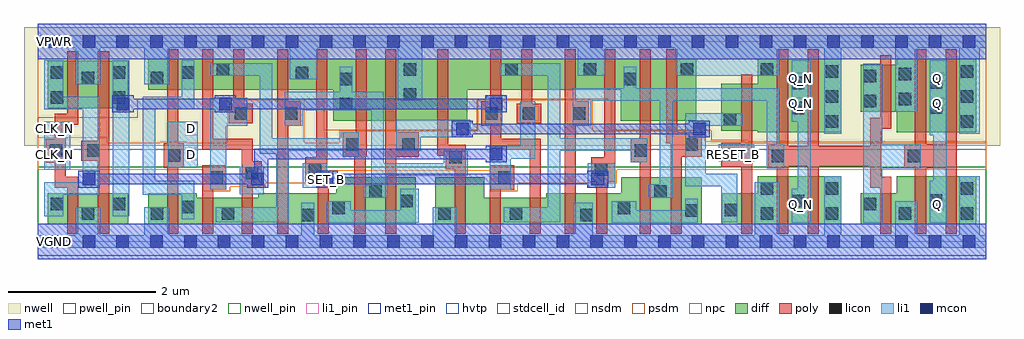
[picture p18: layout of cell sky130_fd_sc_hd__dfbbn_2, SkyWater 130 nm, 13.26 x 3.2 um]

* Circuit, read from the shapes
.subckt sky130_fd_sc_hd__dfbbn_2 CLK_N D Q Q_N RESET_B SET_B VGND VNB VPB VPWR
XM1 VGND CLK_N n1 VNB sky130_fd_pr__nfet_01v8 w=0.42 l=0.15
XM2 n2 n1 VGND VNB sky130_fd_pr__nfet_01v8 w=0.42 l=0.15
XM3 n3 D VGND VNB sky130_fd_pr__nfet_01v8 w=0.42 l=0.15
XM4 n4 n2 n3 VNB sky130_fd_pr__nfet_01v8 w=0.36 l=0.15
XM5 n5 n1 n4 VNB sky130_fd_pr__nfet_01v8 w=0.36 l=0.15
XM6 VGND n6 n5 VNB sky130_fd_pr__nfet_01v8 w=0.42 l=0.15
XM7 n7 SET_B VGND VNB sky130_fd_pr__nfet_01v8 w=0.42 l=0.15
XM8 n6 n4 n7 VNB sky130_fd_pr__nfet_01v8 w=0.64 l=0.15
XM9 n7 n8 n6 VNB sky130_fd_pr__nfet_01v8 w=0.64 l=0.15
XM10 n9 n6 VGND VNB sky130_fd_pr__nfet_01v8 w=0.64 l=0.15
XM11 n10 n1 n9 VNB sky130_fd_pr__nfet_01v8 w=0.36 l=0.15
XM12 n11 n2 n10 VNB sky130_fd_pr__nfet_01v8 w=0.36 l=0.15
XM13 VGND n12 n11 VNB sky130_fd_pr__nfet_01v8 w=0.42 l=0.15
XM14 n13 SET_B VGND VNB sky130_fd_pr__nfet_01v8 w=0.42 l=0.15
XM15 n12 n10 n13 VNB sky130_fd_pr__nfet_01v8 w=0.64 l=0.15
XM16 n13 n8 n12 VNB sky130_fd_pr__nfet_01v8 w=0.64 l=0.15
XM17 VGND RESET_B n8 VNB sky130_fd_pr__nfet_01v8 w=0.42 l=0.15
XM18 Q_N n12 VGND VNB sky130_fd_pr__nfet_01v8 w=0.65 l=0.15 m=2
XM19 VGND n12 n14 VNB sky130_fd_pr__nfet_01v8 w=0.42 l=0.15
XM20 Q n14 VGND VNB sky130_fd_pr__nfet_01v8 w=0.65 l=0.15 m=2
XM21 VPWR CLK_N n1 VPB sky130_fd_pr__pfet_01v8_hvt w=0.64 l=0.15
XM22 n2 n1 VPWR VPB sky130_fd_pr__pfet_01v8_hvt w=0.64 l=0.15
XM23 n3 D VPWR VPB sky130_fd_pr__pfet_01v8_hvt w=0.42 l=0.15
XM24 n4 n1 n3 VPB sky130_fd_pr__pfet_01v8_hvt w=0.42 l=0.15
XM25 n15 n2 n4 VPB sky130_fd_pr__pfet_01v8_hvt w=0.42 l=0.15
XM26 VPWR n6 n15 VPB sky130_fd_pr__pfet_01v8_hvt w=0.42 l=0.15
XM27 n6 SET_B VPWR VPB sky130_fd_pr__pfet_01v8_hvt w=0.42 l=0.15
XM28 n16 n4 n6 VPB sky130_fd_pr__pfet_01v8_hvt w=0.84 l=0.15
XM29 VPWR n8 n16 VPB sky130_fd_pr__pfet_01v8_hvt w=0.84 l=0.15
XM30 n17 n6 VPWR VPB sky130_fd_pr__pfet_01v8_hvt w=0.84 l=0.15
XM31 n10 n2 n17 VPB sky130_fd_pr__pfet_01v8_hvt w=0.42 l=0.15
XM32 n18 n1 n10 VPB sky130_fd_pr__pfet_01v8_hvt w=0.42 l=0.15
XM33 VPWR n12 n18 VPB sky130_fd_pr__pfet_01v8_hvt w=0.42 l=0.15
XM34 n12 SET_B VPWR VPB sky130_fd_pr__pfet_01v8_hvt w=0.42 l=0.15
XM35 n19 n10 n12 VPB sky130_fd_pr__pfet_01v8_hvt w=0.84 l=0.15
XM36 VPWR n8 n19 VPB sky130_fd_pr__pfet_01v8_hvt w=0.84 l=0.15
XM37 VPWR RESET_B n8 VPB sky130_fd_pr__pfet_01v8_hvt w=0.64 l=0.15
XM38 Q_N n12 VPWR VPB sky130_fd_pr__pfet_01v8_hvt w=1 l=0.15 m=2
XM39 VPWR n12 n14 VPB sky130_fd_pr__pfet_01v8_hvt w=0.64 l=0.15
XM40 Q n14 VPWR VPB sky130_fd_pr__pfet_01v8_hvt w=1 l=0.15 m=2
.ends

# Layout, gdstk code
import gdstk
lib = gdstk.Library(unit=1e-6, precision=1e-09)
def R(c, l, rs):  # rectangles x0, y0, x1, y1
    for r in rs: c.add(gdstk.rectangle(r[:2], r[2:], *l))
def A(c, l, x, y, w, h, nx, ny, dx, dy):  # array of equal rectangles
    R(c, l, [(x+i*dx, y+j*dy, x+i*dx+w, y+j*dy+h) for i in range(nx) for j in range(ny)])
def P(c, l, *ps):  # polygons
    for p in ps: c.add(gdstk.Polygon(p, *l))
nwell_pin = (64, 16)
nwell = (64, 20)
diff = (65, 20)
poly = (66, 20)
licon = (66, 44)
li1_pin = (67, 16)
li1 = (67, 20)
mcon = (67, 44)
met1_pin = (68, 16)
met1 = (68, 20)
hvtp = (78, 44)
stdcell_id = (81, 4)
nsdm = (93, 44)
psdm = (94, 20)
npc = (95, 20)
pwell_pin = (122, 16)
boundary2 = (236, 0)

sky130_fd_sc_hd__dfbbn_2 = lib.new_cell('sky130_fd_sc_hd__dfbbn_2')
R(sky130_fd_sc_hd__dfbbn_2, nwell_pin, [(0.15,2.635,0.32,2.805), (0.15,2.635,0.32,2.805)])
R(sky130_fd_sc_hd__dfbbn_2, nwell, [(-0.19,1.305,13.07,2.91)])
R(sky130_fd_sc_hd__dfbbn_2, diff, [(0.135,0.235,1.225,0.655), (0.135,1.815,1.225,2.455)])
P(sky130_fd_sc_hd__dfbbn_2, diff, [(11.18,0.235),(11.18,0.655),(11.665,0.655),(11.665,0.885),(12.745,0.885),(12.745,0.235)],
  [(5.4,0.235),(5.4,0.875),(6.06,0.875),(6.06,0.595),(6.905,0.595),(6.905,0.655),(7.925,0.655),(7.925,0.875),(9.02,0.875),(9.02,0.235)],
  [(4.01,1.645),(4.01,2.065),(1.495,2.065),(1.495,2.485),(8.945,2.485),(8.945,1.645),(7.92,1.645),(7.92,2.065),(5.835,2.065),(5.835,1.645)],
  [(11.665,1.485),(11.665,1.765),(11.18,1.765),(11.18,2.405),(11.665,2.405),(11.665,2.485),(12.745,2.485),(12.745,1.485)],
  [(9.29,0.235),(9.29,0.655),(9.78,0.655),(9.78,0.885),(10.91,0.885),(10.91,0.235)],
  [(1.495,0.235),(1.495,0.655),(2.155,0.655),(2.155,0.595),(2.995,0.595),(2.995,0.655),(4.05,0.655),(4.05,0.875),(5.13,0.875),(5.13,0.235)],
  [(9.78,1.485),(9.78,1.505),(9.28,1.505),(9.28,2.145),(9.78,2.145),(9.78,2.485),(10.91,2.485),(10.91,1.485)])
R(sky130_fd_sc_hd__dfbbn_2, poly, [(4.3,0.105,4.45,1.16)])
P(sky130_fd_sc_hd__dfbbn_2, poly, [(11.915,0.105),(11.915,0.995),(11.77,0.995),(11.77,1.325),(11.915,1.325),(11.915,2.615),(12.065,2.615),(12.065,1.325),(12.335,1.325),(12.335,2.615),(12.485,2.615),(12.485,0.105),(12.335,0.105),(12.335,0.995),(12.065,0.995),(12.065,0.105)],
  [(1.755,0.105),(1.755,1.005),(1.71,1.005),(1.71,1.335),(1.755,1.335),(1.755,2.615),(1.905,2.615),(1.905,1.335),(1.98,1.335),(1.98,1.005),(1.905,1.005),(1.905,0.105)],
  [(0.815,0.105),(0.815,1.1),(0.59,1.1),(0.59,1.37),(0.815,1.37),(0.815,2.585),(0.965,2.585),(0.965,0.105)],
  [(10.04,0.105),(10.04,0.995),(9.92,0.995),(9.92,1.325),(10.04,1.325),(10.04,2.615),(10.19,2.615),(10.19,1.295),(10.46,1.295),(10.46,2.615),(10.61,2.615),(10.61,1.295),(11.31,1.295),(11.31,1.685),(11.44,1.685),(11.44,2.535),(11.59,2.535),(11.59,1.535),(11.46,1.535),(11.46,0.88),(11.59,0.88),(11.59,0.105),(11.44,0.105),(11.44,0.73),(11.31,0.73),(11.31,1.025),(10.61,1.025),(10.61,0.105),(10.46,0.105),(10.46,1.025),(10.19,1.025),(10.19,0.105)],
  [(4.72,0.105),(4.72,2.615),(4.87,2.615),(4.87,1.485),(5.17,1.485),(5.17,1.155),(4.87,1.155),(4.87,0.105)],
  [(8.175,0.105),(8.175,1.075),(8.055,1.075),(8.055,1.405),(8.175,1.405),(8.175,2.615),(8.325,2.615),(8.325,0.105)],
  [(2.23,0.105),(2.23,1.035),(2.56,1.035),(2.56,0.705),(2.38,0.705),(2.38,0.105)],
  [(8.595,0.105),(8.595,1.335),(8.535,1.335),(8.535,2.615),(8.685,2.615),(8.685,1.485),(9.015,1.485),(9.015,1.155),(8.745,1.155),(8.745,0.105)],
  [(7.585,0.105),(7.585,0.815),(7.515,0.815),(7.515,1.145),(7.695,1.145),(7.695,2.615),(7.845,2.615),(7.845,0.815),(7.735,0.815),(7.735,0.105)],
  [(7.155,0.105),(7.155,2.615),(7.305,2.615),(7.305,1.905),(7.485,1.905),(7.485,1.575),(7.305,1.575),(7.305,0.105)],
  [(2.59,1.605),(2.59,1.875),(2.65,1.875),(2.65,2.615),(2.8,2.615),(2.8,1.875),(2.92,1.875),(2.92,1.605)],
  [(6.505,1.605),(6.505,1.875),(6.565,1.875),(6.565,2.615),(6.715,2.615),(6.715,1.875),(6.835,1.875),(6.835,1.605)],
  [(6.68,0.105),(6.68,1.245),(6.145,1.245),(6.145,1.575),(6.025,1.575),(6.025,1.905),(6.145,1.905),(6.145,2.615),(6.295,2.615),(6.295,1.395),(6.83,1.395),(6.83,0.105)],
  [(4.14,1.155),(4.14,1.485),(4.32,1.485),(4.32,2.615),(4.47,2.615),(4.47,1.155)],
  [(6.135,0.105),(6.135,1.035),(6.47,1.035),(6.47,0.705),(6.285,0.705),(6.285,0.105)],
  [(5.66,0.105),(5.66,0.985),(5.54,0.985),(5.54,1.165),(5.425,1.165),(5.425,2.615),(5.575,2.615),(5.575,1.315),(5.81,1.315),(5.81,0.105)],
  [(3.25,0.105),(3.25,2.615),(3.4,2.615),(3.4,1.905),(3.57,1.905),(3.57,1.575),(3.4,1.575),(3.4,0.105)],
  [(2.77,0.105),(2.77,1.245),(2.23,1.245),(2.23,2.615),(2.38,2.615),(2.38,1.395),(2.92,1.395),(2.92,1.095),(3.04,1.095),(3.04,0.765),(2.92,0.765),(2.92,0.105)],
  [(0.395,0.105),(0.395,0.73),(0.23,0.73),(0.23,1.07),(0.105,1.07),(0.105,1.4),(0.23,1.4),(0.23,1.74),(0.395,1.74),(0.395,2.585),(0.545,2.585),(0.545,1.59),(0.38,1.59),(0.38,0.88),(0.545,0.88),(0.545,0.105)],
  [(9.555,0.105),(9.555,1.015),(9.28,1.015),(9.28,1.345),(9.555,1.345),(9.555,2.275),(9.705,2.275),(9.705,0.105)],
  [(3.8,0.105),(3.8,0.815),(3.63,0.815),(3.63,1.145),(3.78,1.145),(3.78,2.615),(3.93,2.615),(3.93,0.965),(3.95,0.965),(3.95,0.105)])
A(sky130_fd_sc_hd__dfbbn_2, licon, 10.7, 1.545, 0.17, 0.17, 1, 3, 0, 0.34)
A(sky130_fd_sc_hd__dfbbn_2, licon, 12.535, 1.545, 0.17, 0.17, 1, 3, 0, 0.34)
R(sky130_fd_sc_hd__dfbbn_2, licon, [(3.58,0.275,3.75,0.445), (7.365,0.275,7.535,0.445), (0.595,0.295,0.765,0.465), (1.535,0.295,1.705,0.465), (2.495,0.295,2.665,0.465), (5.44,0.295,5.61,0.465), (6.41,0.295,6.58,0.465), (9.82,0.295,9.99,0.465), (10.7,0.295,10.87,0.465), (11.695,0.295,11.865,0.465), (12.535,0.295,12.705,0.465), (8.795,0.335,8.965,0.505), (9.33,0.345,9.5,0.515), (4,0.375,4.17,0.545), (7.875,0.375,8.045,0.545), (1.955,0.385,2.125,0.555), (0.175,0.425,0.345,0.595), (1.015,0.425,1.185,0.595), (11.22,0.425,11.39,0.595), (4.92,0.465,5.09,0.635), (10.24,0.465,10.41,0.635), (12.115,0.475,12.285,0.645), (4.5,0.595,4.67,0.765), (8.375,0.595,8.545,0.765), (9.82,0.635,9.99,0.805), (10.7,0.635,10.87,0.805), (12.535,0.635,12.705,0.805), (2.34,0.785,2.51,0.955), (6.25,0.785,6.42,0.955), (2.82,0.845,2.99,1.015), (3.68,0.895,3.85,1.065), (7.565,0.895,7.735,1.065), (5.59,1.065,5.76,1.235), (9.97,1.075,10.14,1.245), (11.82,1.075,11.99,1.245), (1.76,1.085,1.93,1.255), (9.33,1.095,9.5,1.265), (0.16,1.15,0.33,1.32), (0.67,1.15,0.84,1.32), (8.105,1.155,8.275,1.325), (4.19,1.235,4.36,1.405), (4.95,1.235,5.12,1.405), (8.795,1.235,8.965,1.405), (9.32,1.575,9.49,1.745), (2.67,1.655,2.84,1.825), (3.35,1.655,3.52,1.825), (6.075,1.655,6.245,1.825), (6.585,1.655,6.755,1.825), (7.265,1.655,7.435,1.825), (10.24,1.73,10.41,1.9), (12.115,1.735,12.285,1.905), (4.1,1.785,4.27,1.955), (11.22,1.825,11.39,1.995), (11.695,1.855,11.865,2.025), (0.175,1.875,0.345,2.045), (1.015,1.875,1.185,2.045), (4.97,1.915,5.14,2.085), (10.24,2.07,10.41,2.24), (12.115,2.075,12.285,2.245), (4.1,2.125,4.27,2.295), (7.955,2.125,8.125,2.295), (0.595,2.135,0.765,2.305), (1.535,2.135,1.705,2.305), (11.22,2.165,11.39,2.335), (11.695,2.195,11.865,2.365), (3.5,2.205,3.67,2.375), (0.175,2.215,0.345,2.385), (1.015,2.215,1.185,2.385), (1.955,2.215,2.125,2.385), (2.43,2.25,2.6,2.42), (6.345,2.25,6.515,2.42), (4.97,2.255,5.14,2.425), (7.415,2.255,7.585,2.425), (8.735,2.255,8.905,2.425), (9.82,2.255,9.99,2.425)])
R(sky130_fd_sc_hd__dfbbn_2, li1_pin, [(0.15,-0.085,0.32,0.085), (10.28,0.425,10.45,0.595), (12.14,0.425,12.31,0.595), (3.84,0.765,4.01,0.935), (0.15,1.105,0.32,1.275), (2,1.105,2.17,1.275), (9.36,1.105,9.53,1.275), (0.15,1.445,0.32,1.615), (2,1.445,2.17,1.615), (10.28,1.785,10.45,1.955), (12.14,1.785,12.31,1.955), (10.28,2.125,10.45,2.295), (12.14,2.125,12.31,2.295), (0.15,2.635,0.32,2.805)])
R(sky130_fd_sc_hd__dfbbn_2, li1, [(1.015,0.345,1.24,2.465), (2.74,0.645,3.07,1.015), (7.47,0.735,7.845,1.065), (0.085,0.975,0.44,1.625), (1.76,1.005,2.17,1.625), (9.25,1.095,9.73,1.325), (6.075,1.575,6.31,1.985)])
P(sky130_fd_sc_hd__dfbbn_2, li1, [(10.68,1.465),(10.68,2.635),(10.07,2.635),(10.07,2.255),(8.655,2.255),(8.655,2.635),(7.715,2.635),(7.715,2.255),(7.335,2.255),(7.335,2.635),(5.22,2.635),(5.22,1.915),(4.89,1.915),(4.89,2.635),(3.8,2.635),(3.8,2.205),(3.42,2.205),(3.42,2.635),(1.785,2.635),(1.785,2.135),(1.445,2.135),(1.445,2.635),(0.845,2.635),(0.845,2.135),(0.515,2.135),(0.515,2.635),(0,2.635),(0,2.805),(12.88,2.805),(12.88,2.635),(12.795,2.635),(12.795,1.465),(12.515,1.465),(12.515,2.635),(11.945,2.635),(11.945,1.765),(11.65,1.765),(11.65,2.635),(10.91,2.635),(10.91,1.465)],
  [(0,-0.085),(0,0.085),(0.515,0.085),(0.515,0.465),(0.845,0.465),(0.845,0.085),(1.445,0.085),(1.445,0.465),(1.785,0.465),(1.785,0.085),(3.58,0.085),(3.58,0.525),(3.75,0.525),(3.75,0.085),(5.36,0.085),(5.36,0.465),(5.69,0.465),(5.69,0.085),(7.275,0.085),(7.275,0.525),(7.535,0.525),(7.535,0.085),(9.74,0.085),(9.74,0.805),(10.07,0.805),(10.07,0.085),(10.68,0.085),(10.68,0.885),(10.91,0.885),(10.91,0.085),(11.65,0.085),(11.65,0.545),(11.945,0.545),(11.945,0.085),(12.515,0.085),(12.515,0.885),(12.795,0.885),(12.795,0.085),(12.88,0.085),(12.88,-0.085)],
  [(8.295,0.595),(8.295,0.78),(8.445,0.78),(8.445,1.915),(7.515,1.915),(7.515,1.575),(7.265,1.575),(7.265,2.085),(7.955,2.085),(7.955,2.375),(8.125,2.375),(8.125,2.085),(10.07,2.085),(10.07,1.325),(10.14,1.325),(10.14,0.995),(9.9,0.995),(9.9,1.915),(8.625,1.915),(8.625,0.595)],
  [(6.33,0.265),(6.33,0.465),(6.925,0.465),(6.925,2.25),(6.265,2.25),(6.265,2.42),(7.095,2.42),(7.095,1.405),(8.275,1.405),(8.275,1.075),(8.055,1.075),(8.055,1.235),(7.095,1.235),(7.095,0.265)],
  [(12.115,0.255),(12.115,0.825),(12.16,0.825),(12.16,1.445),(12.115,1.445),(12.115,2.465),(12.345,2.465),(12.345,0.255)],
  [(2.415,0.265),(2.415,0.465),(3.24,0.465),(3.24,1.195),(3.01,1.195),(3.01,2.25),(2.35,2.25),(2.35,2.42),(3.18,2.42),(3.18,1.405),(4.11,1.405),(4.11,1.485),(4.36,1.485),(4.36,1.155),(4.14,1.155),(4.14,1.235),(3.41,1.235),(3.41,0.265)],
  [(7.795,0.255),(7.795,0.545),(8.125,0.545),(8.125,0.425),(8.795,0.425),(8.795,0.585),(8.965,0.585),(8.965,0.255)],
  [(11.215,0.255),(11.215,2.415),(11.47,2.415),(11.47,1.325),(11.99,1.325),(11.99,0.995),(11.47,0.995),(11.47,0.255)],
  [(1.955,0.305),(1.955,0.635),(1.42,0.635),(1.42,1.965),(1.955,1.965),(1.955,2.465),(2.125,2.465),(2.125,1.795),(1.59,1.795),(1.59,0.825),(2.125,0.825),(2.125,0.305)],
  [(9.28,0.265),(9.28,0.755),(8.795,0.755),(8.795,1.745),(9.57,1.745),(9.57,1.575),(9.07,1.575),(9.07,0.925),(9.5,0.925),(9.5,0.265)],
  [(10.24,0.255),(10.24,0.715),(10.32,0.715),(10.32,1.63),(10.24,1.63),(10.24,2.465),(10.5,2.465),(10.5,0.255)],
  [(0.085,0.345),(0.085,0.805),(0.61,0.805),(0.61,1.795),(0.085,1.795),(0.085,2.465),(0.345,2.465),(0.345,1.965),(0.84,1.965),(0.84,0.635),(0.345,0.635),(0.345,0.345)],
  [(2.34,0.705),(2.34,1.955),(2.84,1.955),(2.84,1.575),(2.56,1.575),(2.56,0.705)],
  [(6.135,0.705),(6.135,1.305),(6.55,1.305),(6.55,1.905),(6.755,1.905),(6.755,1.125),(6.42,1.125),(6.42,0.705)],
  [(4.87,1.235),(4.87,1.655),(5.875,1.655),(5.875,1.415),(5.2,1.415),(5.2,1.235)],
  [(4.42,0.595),(4.42,0.765),(4.53,0.765),(4.53,1.785),(3.6,1.785),(3.6,1.575),(3.35,1.575),(3.35,2.035),(4.1,2.035),(4.1,2.375),(4.27,2.375),(4.27,2.035),(4.7,2.035),(4.7,1.065),(5.51,1.065),(5.51,1.235),(5.84,1.235),(5.84,0.895),(4.75,0.895),(4.75,0.595)],
  [(3.92,0.255),(3.92,0.545),(4.25,0.545),(4.25,0.425),(4.92,0.425),(4.92,0.715),(5.17,0.715),(5.17,0.255)],
  [(3.6,0.735),(3.6,1.065),(3.93,1.065),(3.93,0.965),(4.01,0.965),(4.01,0.735)])
A(sky130_fd_sc_hd__dfbbn_2, mcon, 0.145, -0.085, 0.17, 0.17, 28, 2, 0.46, 2.72)
R(sky130_fd_sc_hd__dfbbn_2, mcon, [(0.61,0.765,0.78,0.935), (2.9,0.765,3.07,0.935), (3.84,0.765,4.01,0.935), (7.52,0.765,7.69,0.935), (6.14,1.105,6.31,1.275), (5.68,1.445,5.85,1.615), (8.9,1.445,9.07,1.615), (1.07,1.785,1.24,1.955), (2.46,1.785,2.63,1.955), (6.14,1.785,6.31,1.955)])
R(sky130_fd_sc_hd__dfbbn_2, met1_pin, [(0.15,-0.085,0.32,0.085), (0.15,2.635,0.32,2.805)])
R(sky130_fd_sc_hd__dfbbn_2, met1, [(0,-0.24,12.88,0.24), (0,2.48,12.88,2.96)])
P(sky130_fd_sc_hd__dfbbn_2, met1, [(3.78,0.735),(3.78,0.965),(4.07,0.965),(4.07,0.92),(7.46,0.92),(7.46,0.965),(7.75,0.965),(7.75,0.735),(7.46,0.735),(7.46,0.78),(4.07,0.78),(4.07,0.735)],
  [(5.62,1.415),(5.62,1.645),(5.91,1.645),(5.91,1.6),(8.84,1.6),(8.84,1.645),(9.13,1.645),(9.13,1.415),(8.84,1.415),(8.84,1.46),(5.91,1.46),(5.91,1.415)],
  [(0.55,0.735),(0.55,0.965),(0.84,0.965),(0.84,0.92),(2.84,0.92),(2.84,0.965),(2.935,0.965),(2.935,1.26),(6.08,1.26),(6.08,1.305),(6.37,1.305),(6.37,1.075),(6.08,1.075),(6.08,1.12),(3.13,1.12),(3.13,0.735),(2.84,0.735),(2.84,0.78),(0.84,0.78),(0.84,0.735)],
  [(1.01,1.755),(1.01,1.985),(1.3,1.985),(1.3,1.94),(2.4,1.94),(2.4,1.985),(2.69,1.985),(2.69,1.94),(6.08,1.94),(6.08,1.985),(6.37,1.985),(6.37,1.755),(6.08,1.755),(6.08,1.8),(2.69,1.8),(2.69,1.755),(2.4,1.755),(2.4,1.8),(1.3,1.8),(1.3,1.755)])
R(sky130_fd_sc_hd__dfbbn_2, hvtp, [(0,1.25,12.88,2.72)])
R(sky130_fd_sc_hd__dfbbn_2, stdcell_id, [(0,0,12.88,2.72)])
R(sky130_fd_sc_hd__dfbbn_2, nsdm, [(0,-0.19,12.88,1.015)])
P(sky130_fd_sc_hd__dfbbn_2, psdm, [(9.65,1.355),(9.65,1.375),(9.15,1.375),(9.15,1.515),(7.79,1.515),(7.79,1.935),(5.965,1.935),(5.965,1.515),(3.88,1.515),(3.88,1.935),(1.355,1.935),(1.355,1.685),(0,1.685),(0,2.91),(12.88,2.91),(12.88,1.355)])
P(sky130_fd_sc_hd__dfbbn_2, npc, [(2.24,0.685),(2.24,0.975),(0,0.975),(0,1.42),(0.94,1.42),(0.94,1.345),(1.66,1.345),(1.66,1.355),(2.03,1.355),(2.03,1.345),(2.57,1.345),(2.57,1.925),(3.62,1.925),(3.62,1.345),(4.09,1.345),(4.09,1.505),(5.975,1.505),(5.975,1.925),(7.535,1.925),(7.535,1.505),(9.065,1.505),(9.065,1.365),(9.6,1.365),(9.6,1.345),(12.88,1.345),(12.88,0.975),(7.865,0.975),(7.865,0.795),(6.52,0.795),(6.52,0.685),(6.15,0.685),(6.15,0.965),(3.95,0.965),(3.95,0.795),(3.09,0.795),(3.09,0.745),(2.61,0.745),(2.61,0.685)])
R(sky130_fd_sc_hd__dfbbn_2, pwell_pin, [(0.15,-0.085,0.32,0.085), (0.15,-0.085,0.32,0.085)])
R(sky130_fd_sc_hd__dfbbn_2, boundary2, [(0,0,12.88,2.72)])
sky130_fd_sc_hd__dfbbn_2.add(gdstk.Label('VPWR', (0.23,2.72), layer=68, texttype=5))
sky130_fd_sc_hd__dfbbn_2.add(gdstk.Label('VGND', (0.23,0), layer=68, texttype=5))
sky130_fd_sc_hd__dfbbn_2.add(gdstk.Label('VPB', (0.235,2.72), layer=64, texttype=5))
sky130_fd_sc_hd__dfbbn_2.add(gdstk.Label('VPB', (0.235,2.72), layer=64, texttype=5))
sky130_fd_sc_hd__dfbbn_2.add(gdstk.Label('VNB', (0.235,0), layer=64, texttype=59))
sky130_fd_sc_hd__dfbbn_2.add(gdstk.Label('VNB', (0.245,0), layer=64, texttype=59))
sky130_fd_sc_hd__dfbbn_2.add(gdstk.Label('dfbbn_2', (0,0), layer=83, texttype=44))
sky130_fd_sc_hd__dfbbn_2.add(gdstk.Label('Q_N', (10.365,0.51), layer=67, texttype=5))
sky130_fd_sc_hd__dfbbn_2.add(gdstk.Label('Q_N', (10.365,1.87), layer=67, texttype=5))
sky130_fd_sc_hd__dfbbn_2.add(gdstk.Label('Q_N', (10.365,2.21), layer=67, texttype=5))
sky130_fd_sc_hd__dfbbn_2.add(gdstk.Label('Q', (12.225,0.51), layer=67, texttype=5))
sky130_fd_sc_hd__dfbbn_2.add(gdstk.Label('Q', (12.225,1.87), layer=67, texttype=5))
sky130_fd_sc_hd__dfbbn_2.add(gdstk.Label('Q', (12.225,2.21), layer=67, texttype=5))
sky130_fd_sc_hd__dfbbn_2.add(gdstk.Label('D', (2.085,1.19), layer=67, texttype=5))
sky130_fd_sc_hd__dfbbn_2.add(gdstk.Label('D', (2.085,1.53), layer=67, texttype=5))
sky130_fd_sc_hd__dfbbn_2.add(gdstk.Label('VPWR', (0.235,2.72), layer=67, texttype=5))
sky130_fd_sc_hd__dfbbn_2.add(gdstk.Label('SET_B', (3.925,0.85), layer=67, texttype=5))
sky130_fd_sc_hd__dfbbn_2.add(gdstk.Label('CLK_N', (0.23,1.19), layer=67, texttype=5))
sky130_fd_sc_hd__dfbbn_2.add(gdstk.Label('CLK_N', (0.23,1.53), layer=67, texttype=5))
sky130_fd_sc_hd__dfbbn_2.add(gdstk.Label('VGND', (0.245,0), layer=67, texttype=5))
sky130_fd_sc_hd__dfbbn_2.add(gdstk.Label('RESET_B', (9.445,1.19), layer=67, texttype=5))

lib.write_gds('sky130_fd_sc_hd__dfbbn_2.gds')
